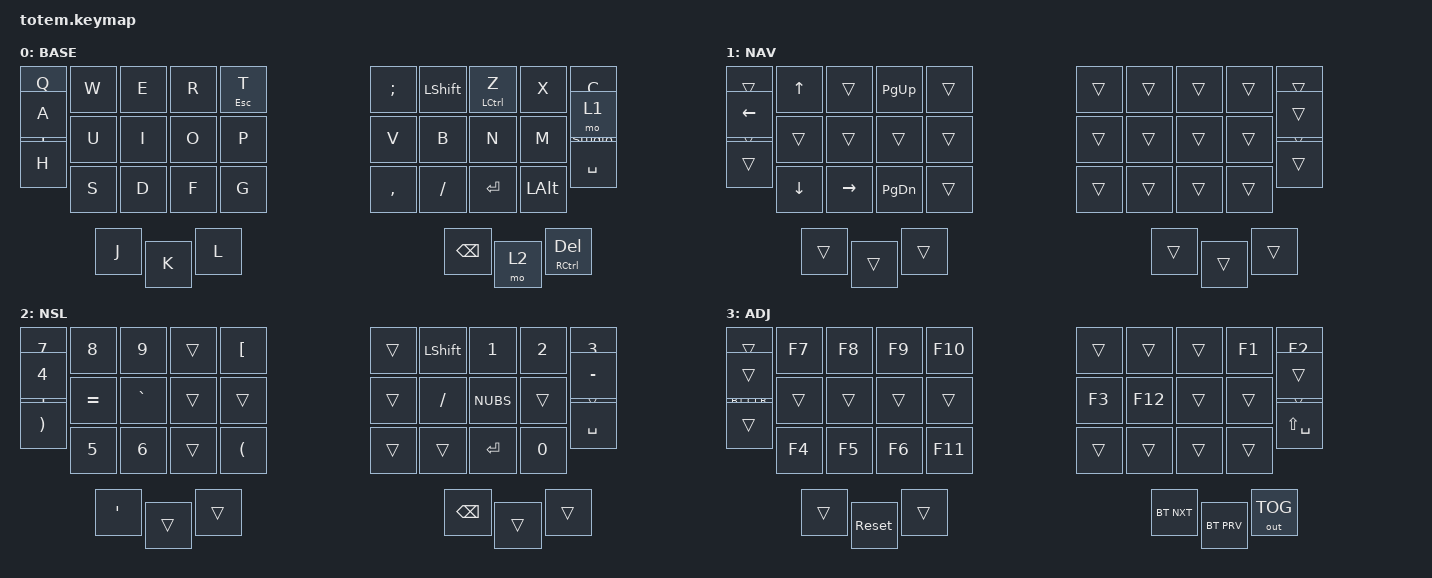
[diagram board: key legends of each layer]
#include <behaviors.dtsi>
#include <dt-bindings/zmk/keys.h>
#include <dt-bindings/zmk/bt.h>
#include <dt-bindings/zmk/outputs.h>

#define BASE 0
#define NAV  1
#define NSL  2
#define ADJ  3



/ {
    behaviors {
	
    conditional_layers {
        compatible = "zmk,conditional-layers";
        tri_layer {
            if-layers = <1 2>;
            then-layer = <3>;
        };
    };
       
        mm_ctrl_bspc: ctrl_bspc {
            compatible = "zmk,behavior-mod-morph";
            #binding-cells = <0>;
            bindings = <&mt RCTRL BSPC>, <&kp BSPC>;
            mods = <MOD_LCTL>;
            keep-mods = <MOD_LCTL>;
        };

    };


/* ---------------------------------------------------------------------------------------------------------------------------------------------------- 
              ┏━━━━━━━━━━━┳━━━━━━━━━━━┳━━━━━━━━━━━┳━━━━━━━━━━━┳━━━━━━━━━━━┓   ┏━━━━━━━━━━━┳━━━━━━━━━━━┳━━━━━━━━━━━┳━━━━━━━━━━━┳━━━━━━━━━━━┓
              ┃     q     ┃     w     ┃     e     ┃     r     ┃    t      ┃   ┃     y     ┃     u     ┃     i     ┃     o     ┃     p     ┃
              ┣━━━━━━━━━━━╋━━━━━━━━━━━╋━━━━━━━━━━━╋━━━━━━━━━━━╋━━━━━━━━━━━┫   ┣━━━━━━━━━━━╋━━━━━━━━━━━╋━━━━━━━━━━━╋━━━━━━━━━━━╋━━━━━━━━━━━┫
              ┃     n     ┃     r     ┃     t     ┃     s     ┃    g      ┃   ┃     y     ┃     h     ┃     a     ┃     e     ┃     i     ┃
  ┏━━━━━━━━━━━╋━━━━━━━━━━━╋━━━━━━━━━━━╋━━━━━━━━━━━╋━━━━━━━━━━━╋━━━━━━━━━━━┫   ┣━━━━━━━━━━━╋━━━━━━━━━━━╋━━━━━━━━━━━╋━━━━━━━━━━━╋━━━━━━━━━━━╋━━━━━━━━━━━┓
  ┃           ┃     q     ┃     x     ┃     m     ┃     c     ┃    v      ┃   ┃     k     ┃     p     ┃   - (+)   ┃   . (>)   ┃  / (<)    ┃           ┃
  ┗━━━━━━━━━━━┻━━━━━━━━━━━┻━━━━━━━━━━━╋━━━━━━━━━━━╋━━━━━━━━━━━╋━━━━━━━━━━━┫   ┣━━━━━━━━━━━╋━━━━━━━━━━━╋━━━━━━━━━━━╋━━━━━━━━━━━┻━━━━━━━━━━━┻━━━━━━━━━━━┛
                                      ┃           ┃           ┃           ┃   ┃           ┃           ┃           ┃
                                      ┗━━━━━━━━━━━┻━━━━━━━━━━━┻━━━━━━━━━━━┛   ┗━━━━━━━━━━━┻━━━━━━━━━━━┻━━━━━━━━━━━┛
*/
    keymap {
        compatible = "zmk,keymap";
        base_layer {
            label= "BASE";
            bindings = <
                  &mt TAB Q    &kp W       &kp E         &kp R         &mt ESC T               &kp Y     &kp U     &kp I     &kp O      &kp P
                  &kp A        &kp S       &kp D         &kp F         &kp G                   &kp H     &kp J     &kp K     &kp L      &kp SEMI
    &kp LSHFT     &mt LCTRL Z  &kp X       &kp C         &kp V         &kp B                   &kp N     &kp M     &studio_unlock   &kp COMMA  &kp FSLH  &kp RET
                                        &kp LALT  &mo 1  &kp SPACE                             &kp BSPC  &mo 2    &mt RCTRL DEL
            >;
        };
/* ---------------------------------------------------------------------------------------------------------------------------------------------------- */
        nav_layer {
            label= "NAV";
            bindings = <
                &trans     &kp UP    &trans     &kp PG_UP  &trans        &trans     &trans    &trans   &trans   &trans
                &kp LEFT   &kp DOWN  &kp RIGHT  &kp PG_DN  &trans        &trans     &trans    &trans   &trans   &trans
    &trans      &trans     &trans    &trans     &trans  &trans           &trans     &trans    &trans   &trans   &trans   &trans
                               &trans       &trans      &trans           &trans     &trans    &trans
            >;
        };
/* ---------------------------------------------------------------------------------------------------------------------------------------------------- */
        num_sym_layer {
            label= "NSL";
            bindings = <
                &kp N7    &kp N8    &kp N9     &trans    &kp LEFT_BRACKET        &kp RIGHT_BRACKET       &kp EQUAL   &kp GRAVE   &trans     &trans
                &kp N4    &kp N5    &kp N6     &trans    &kp LEFT_PARENTHESIS    &kp RIGHT_PARENTHESIS   &kp APOS    &trans      &trans     &trans
    &kp LSHFT   &kp N1    &kp N2    &kp N3     &trans    &kp FSLH                &kp NUBS                &trans      &trans      &trans     &trans     &kp RET
                                &kp N0       &kp MINUS      &kp SPACE            &kp BSPC       &trans     &trans
            >;
        };
/* ---------------------------------------------------------------------------------------------------------------------------------------------------- */
        adjust_layer {
            label= "ADJ";
            bindings = <
                &trans       &kp F7     &kp F8       &kp F9      &kp F10         &bt BT_CLR   &trans      &trans       &trans      &trans
                &trans       &kp F4     &kp F5       &kp F6      &kp F11         &trans       &trans      &sys_reset   &trans      &trans
    &trans      &trans       &kp F1     &kp F2       &kp F3      &kp F12         &trans       &trans      &trans       &trans      &trans    &trans
                                        &trans       &trans      &kp LS(SPACE)   &bt BT_NXT   &bt BT_PRV  &out OUT_TOG
            >;
        };
    };
};
